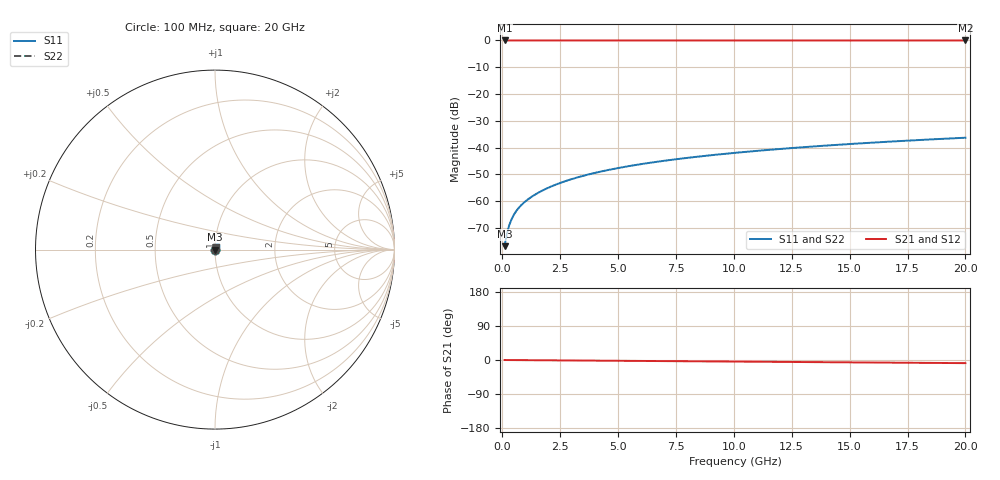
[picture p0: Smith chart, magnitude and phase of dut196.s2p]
! Touchstone file exported from HFSS 2026.1.0
!  File:  C:/ffzhzh/LocalFiles/Ansys_Project_Files/temp_train_TSV_196_1782991614_40604.aedt
!  Generated:  07:28:19 PM Jul  2, 2026
!  Design:  TSV
!  Project:  temp_train_TSV_196_1782991614_40604
! Variables:
!  h_bsmrdl = 2um
!  h_ox = 20um
!  h_rdl = 5um
!  h_sub = 79.26um
!  h_tmrdl = 5um
!  h_tsv = 79.26um
!  h_via = 3um
!  l_bsmrdl = 300um
!  l_sub = 425.58um
!  l_tmrdl = 200um
!  m_sub = 200um
!  pitch = 57.23um
!  r_tsv = 12.79um
!  s_tmrdl = 10um
!  w_bsmrdl = 18um
!  w_sub = 500um
!  w_tmrdl = 12um
!  x_tsv_center1 = 206um
!  x_tsv_center2 = 524um
!  x_tsv_center3 = 736um
!  x_tsv_center4 = 1054um
!  x_tsv_center5 = 1266um
!  x_tsv_center6 = 1584um
# GHz S MA R 50.000000
! Terminal data exported
! Port[1] = TSV1_1_T1
! Port[2] = TSV1_1_T2
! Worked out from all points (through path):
!   200 points, 100 MHz to 20 GHz, reference 50 ohm
!   highest |S21| = 0.00 dB at 100 MHz (marker M1); lowest = 0.0 dB at 20 GHz (marker M2)
!   group delay of S21, straight-line fit = 1.15 ps
!   lowest |S11| = -76.8 dB at 100 MHz (marker M3), VSWR 1.00, Z = 50 + j0.0116 ohm
!   |S11| at or under -10 dB: start of sweep to end of sweep
!   |S22| runs from -76.8 to -36.3 dB; largest |S21 - S12| = 2.1e-15
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0.1  0.0001449 53.4  0.9999 -0.0  0.9999 -0.0  0.0001449 53.4
! Gamma 0 0 0 0
! Port Impedance 50 0 50 0
0.2  0.0002499 66.8  0.9999 -0.1  0.9999 -0.1  0.0002499 66.8
0.3  0.0003572 70.9  0.9999 -0.1  0.9999 -0.1  0.0003572 70.9
0.4  0.0004607 72.5  0.9999 -0.2  0.9999 -0.2  0.0004607 72.5
0.5  0.0005591 73.3  0.9998 -0.2  0.9998 -0.2  0.0005591 73.3
0.6  0.0006527 73.7  0.9998 -0.3  0.9998 -0.3  0.0006527 73.7
0.7  0.0007423 74.0  0.9998 -0.3  0.9998 -0.3  0.0007423 74.0
0.9  0.0009128 74.7  0.9998 -0.4  0.9998 -0.4  0.0009128 74.7
1.1  0.001076 75.4  0.9997 -0.5  0.9997 -0.5  0.001076 75.4
1.3  0.001237 76.1  0.9997 -0.6  0.9997 -0.6  0.001237 76.1
1.6  0.001476 77.1  0.9997 -0.7  0.9997 -0.7  0.001476 77.1
1.9  0.001714 77.9  0.9997 -0.8  0.9997 -0.8  0.001714 77.9
2.6  0.002271 79.3  0.9996 -1.1  0.9996 -1.1  0.002271 79.3
3.5  0.002984 80.2  0.9996 -1.5  0.9996 -1.5  0.002984 80.2
4.2  0.003533 80.5  0.9995 -1.8  0.9995 -1.8  0.003533 80.5
5  0.004156 80.7  0.9995 -2.1  0.9995 -2.1  0.004156 80.7
6.8  0.005538 80.8  0.9994 -2.8  0.9994 -2.8  0.005538 80.8
8.3  0.006676 80.7  0.9993 -3.5  0.9993 -3.5  0.006676 80.7
10.1  0.008029 80.5  0.9992 -4.2  0.9992 -4.2  0.008029 80.5
13.4  0.01049 79.8  0.9991 -5.6  0.9991 -5.6  0.01049 79.8
16.7  0.01292 78.9  0.999 -6.9  0.999 -6.9  0.01292 78.8
20  0.01531 77.8  0.9988 -8.3  0.9988 -8.3  0.01531 77.8
